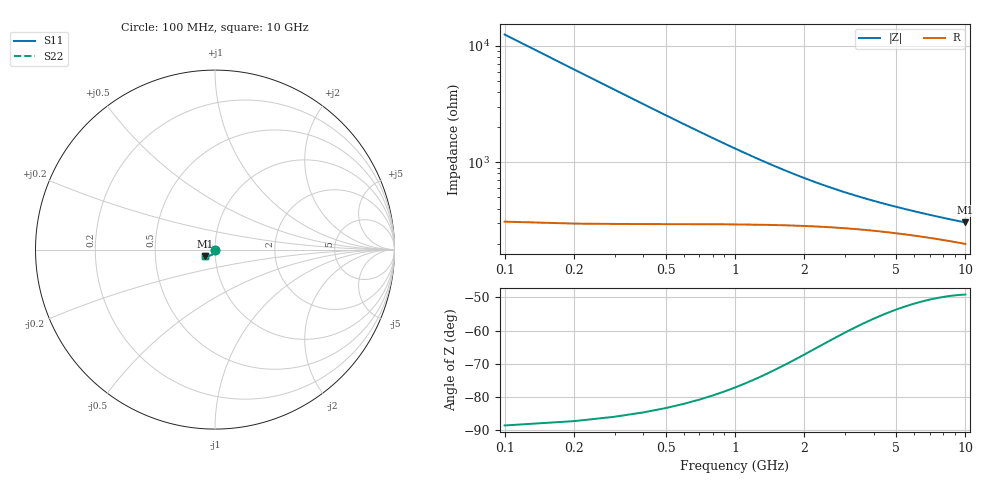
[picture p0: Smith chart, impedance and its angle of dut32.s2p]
! Touchstone file exported from HFSS 2024.1.0
!  File:  C:/UserFiles/LocalFiles/RDL_TSV_Batchsim/temp_TSV1_32_1778747808.aedt
!  Generated:  04:40:10 PM May 14, 2026
!  Design:  TSV1
!  Project:  temp_TSV1_32_1778747808
!  Setup:  Setup1
!  Solution:  Sweep
! Variables:
!  dtsv = 16.51um
!  hbump = 3um
!  htsv = 63um
!  lrdl = 252.1521522um
!  p = 40
!  p1 = 45.12um
!  t = 500um
!  trdl = 3um
!  wrdl = 24.89489489um
# GHz S MA R 50.000000
! Terminal data exported
! Port[1] = TSV22_T1
! Port[2] = TSV22_T2
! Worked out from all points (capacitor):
!   100 points, 100 MHz to 10 GHz, reference 50 ohm
!   read as one part in shunt: C = 127 fF near 100 MHz
!   lowest |Z| = 303 ohm at 10 GHz (marker M1)
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0.1  0.001743 -89.3  0.9999 -0.1  0.9999 -0.1  0.001743 -89.3
! Gamma 0 0 0 0
! Port Impedance 50 0 50 0
0.2  0.003478 -92.0  0.9997 -0.3  0.9997 -0.3  0.003478 -92.0
0.3  0.005204 -94.0  0.9995 -0.4  0.9995 -0.4  0.005204 -94.0
0.4  0.006915 -95.8  0.9991 -0.5  0.9991 -0.5  0.006915 -95.8
0.5  0.008606 -97.4  0.9987 -0.6  0.9987 -0.6  0.008606 -97.4
0.6  0.01027 -99.1  0.9982 -0.7  0.9982 -0.7  0.01027 -99.1
0.7  0.01191 -100.6  0.9976 -0.9  0.9976 -0.9  0.01191 -100.6
0.8  0.01352 -102.1  0.9969 -1.0  0.9969 -1.0  0.01352 -102.1
0.9  0.0151 -103.6  0.9962 -1.1  0.9962 -1.1  0.0151 -103.6
1.1  0.01813 -106.5  0.9946 -1.3  0.9946 -1.3  0.01813 -106.5
1.4  0.02237 -110.5  0.9919 -1.6  0.9919 -1.6  0.02237 -110.5
1.6  0.02498 -112.9  0.99 -1.7  0.99 -1.7  0.02498 -112.9
1.8  0.02742 -115.2  0.9881 -1.9  0.9881 -1.9  0.02742 -115.2
2.1  0.03076 -118.4  0.9853 -2.1  0.9853 -2.1  0.03076 -118.4
2.5  0.03467 -122.0  0.9816 -2.3  0.9816 -2.3  0.03467 -122.0
2.9  0.03805 -125.2  0.9782 -2.5  0.9782 -2.5  0.03805 -125.2
3.4  0.04167 -128.5  0.9743 -2.8  0.9743 -2.8  0.04167 -128.5
4.2  0.04638 -132.7  0.9688 -3.1  0.9688 -3.1  0.04638 -132.7
5.1  0.05061 -136.2  0.9638 -3.3  0.9638 -3.3  0.05061 -136.2
6.7  0.05636 -140.7  0.9567 -3.8  0.9567 -3.8  0.05636 -140.7
8.4  0.0609 -144.0  0.9512 -4.2  0.9512 -4.2  0.0609 -144.0
10  0.06416 -146.3  0.9473 -4.6  0.9473 -4.6  0.06416 -146.3
